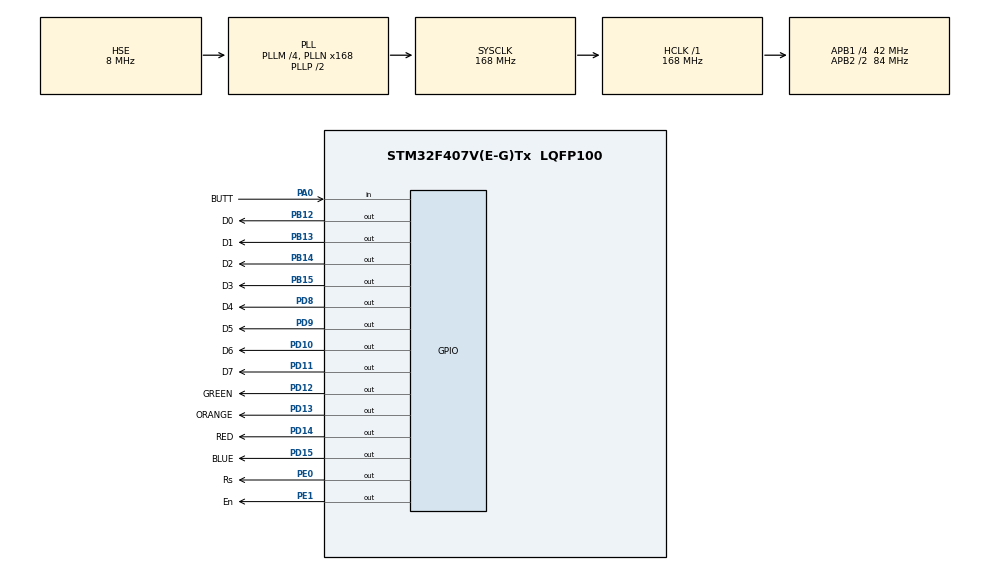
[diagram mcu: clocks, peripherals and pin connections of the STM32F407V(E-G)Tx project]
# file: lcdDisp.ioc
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Mcu.Family=STM32F4
Mcu.Name=STM32F407V(E-G)Tx
Mcu.Package=LQFP100
NVIC.PriorityGroup=NVIC_PRIORITYGROUP_4
PA0-WKUP.GPIO_Label=BUTT
PA0-WKUP.GPIO_PuPd=GPIO_PULLDOWN
PA0-WKUP.Signal=GPIO_Input
PA13.Mode=Serial_Wire
PA13.Signal=SYS_JTMS-SWDIO
PA14.Mode=Serial_Wire
PA14.Signal=SYS_JTCK-SWCLK
PB12.GPIO_Label=D0
PB12.GPIO_Speed=GPIO_SPEED_FREQ_LOW
PB12.Signal=GPIO_Output
PB13.GPIO_Label=D1
PB13.Signal=GPIO_Output
PB14.GPIO_Label=D2
PB14.Signal=GPIO_Output
PB15.GPIO_Label=D3
PB15.Signal=GPIO_Output
PD10.GPIO_Label=D6
PD10.Signal=GPIO_Output
PD11.GPIO_Label=D7
PD11.Signal=GPIO_Output
PD12.GPIO_Label=GREEN
PD12.Signal=GPIO_Output
PD13.GPIO_Label=ORANGE
PD13.Signal=GPIO_Output
PD14.GPIO_Label=RED
PD14.Signal=GPIO_Output
PD15.GPIO_Label=BLUE
PD15.Signal=GPIO_Output
PD8.GPIO_Label=D4
PD8.Signal=GPIO_Output
PD9.GPIO_Label=D5
PD9.Signal=GPIO_Output
PE0.GPIO_Label=Rs
PE0.Signal=GPIO_Output
PE1.GPIO_Label=En
PE1.Signal=GPIO_Output
PH0-OSC_IN.Mode=HSE-External-Oscillator
PH0-OSC_IN.Signal=RCC_OSC_IN
PH1-OSC_OUT.Mode=HSE-External-Oscillator
PH1-OSC_OUT.Signal=RCC_OSC_OUT
ProjectManager.HeapSize=0x200
ProjectManager.StackSize=0x400
ProjectManager.TargetToolchain=MDK-ARM V5.27
RCC.48MHZClocksFreq_Value=84000000
RCC.AHBFreq_Value=168000000
RCC.APB1CLKDivider=RCC_HCLK_DIV4
RCC.APB1Freq_Value=42000000
RCC.APB1TimFreq_Value=84000000
RCC.APB2CLKDivider=RCC_HCLK_DIV2
RCC.APB2Freq_Value=84000000
RCC.APB2TimFreq_Value=168000000
RCC.CortexFreq_Value=168000000
RCC.HCLKFreq_Value=168000000
RCC.HSE_VALUE=8000000
RCC.HSI_VALUE=16000000
RCC.LSE_VALUE=32768
RCC.PLLM=4
RCC.PLLN=168
RCC.PLLSourceVirtual=RCC_PLLSOURCE_HSE
RCC.SYSCLKFreq_VALUE=168000000
RCC.SYSCLKSource=RCC_SYSCLKSOURCE_PLLCLK
RCC.VCOOutputFreq_Value=336000000
board=custom

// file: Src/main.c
/* USER CODE BEGIN Header */
/**
  ******************************************************************************
  * @file           : main.c
  * @brief          : Main program body
  ******************************************************************************
  * @attention
  *
  * <h2><center>&copy; Copyright (c) 2020 STMicroelectronics.
  * All rights reserved.</center></h2>
  *
  * This software component is licensed by ST under BSD 3-Clause license,
  * the "License"; You may not use this file except in compliance with the
  * License. You may obtain a copy of the License at:
  *                        opensource.org/licenses/BSD-3-Clause
  *
  ******************************************************************************
  */
/* USER CODE END Header */

#include "main.h"

/* USER CODE BEGIN Includes */
#include "STM_MY_LCD16X2.h"
/* USER CODE END Includes */

/* USER CODE BEGIN PV */
		char *str1 = " A string to slide waaay out of here... MATE m8!";
		char str2[48] = " Some numbers: 3.14564789 45 96354 pi...12345678";
/* USER CODE END PV */

void SystemClock_Config(void);
static void MX_GPIO_Init(void);

int main(void)
{

  /* MCU Configuration--------------------------------------------------------*/

  /* Reset of all peripherals, Initializes the Flash interface and the Systick. */
  HAL_Init();

  /* Configure the system clock */
  SystemClock_Config();

  /* Initialize all configured peripherals */
  MX_GPIO_Init();
  /* USER CODE BEGIN 2 */
	LCD1602_Begin8BIT(Rs_GPIO_Port, Rs_Pin, En_Pin, D0_GPIO_Port, D0_Pin, D1_Pin, D2_Pin, D3_Pin, D4_GPIO_Port, D4_Pin, D5_Pin, D6_Pin, D7_Pin);

		char a[16];
		int c=0;
		for(int i=0; i<3; i++){
			for(int j=0; j<16; j++){
				a[j]=str1[c];
				c++;
				HAL_Delay(100);

				LCD1602_1stLine();
				LCD1602_print(a);

			}
		}
		LCD1602_2ndLine();
		LCD1602_print(&str2[48]);	//problem var duzelt!
		HAL_Delay(1000);
  /* USER CODE END 2 */

  /* Infinite loop */
  while (1)
  {

    /* USER CODE BEGIN 3 */

		LCD1602_shiftToLeft(1);
		HAL_Delay(500);

  }
  /* USER CODE END 3 */
}

void SystemClock_Config(void)
{
  RCC_OscInitTypeDef RCC_OscInitStruct = {0};
  RCC_ClkInitTypeDef RCC_ClkInitStruct = {0};

  /** Configure the main internal regulator output voltage
  */
  __HAL_RCC_PWR_CLK_ENABLE();
  __HAL_PWR_VOLTAGESCALING_CONFIG(PWR_REGULATOR_VOLTAGE_SCALE1);
  /** Initializes the CPU, AHB and APB busses clocks
  */
  RCC_OscInitStruct.OscillatorType = RCC_OSCILLATORTYPE_HSE;
  RCC_OscInitStruct.HSEState = RCC_HSE_ON;
  RCC_OscInitStruct.PLL.PLLState = RCC_PLL_ON;
  RCC_OscInitStruct.PLL.PLLSource = RCC_PLLSOURCE_HSE;
  RCC_OscInitStruct.PLL.PLLM = 4;
  RCC_OscInitStruct.PLL.PLLN = 168;
  RCC_OscInitStruct.PLL.PLLP = RCC_PLLP_DIV2;
  RCC_OscInitStruct.PLL.PLLQ = 4;
  if (HAL_RCC_OscConfig(&RCC_OscInitStruct) != HAL_OK)
  {
    Error_Handler();
  }
  /** Initializes the CPU, AHB and APB busses clocks
  */
  RCC_ClkInitStruct.ClockType = RCC_CLOCKTYPE_HCLK|RCC_CLOCKTYPE_SYSCLK
                              |RCC_CLOCKTYPE_PCLK1|RCC_CLOCKTYPE_PCLK2;
  RCC_ClkInitStruct.SYSCLKSource = RCC_SYSCLKSOURCE_PLLCLK;
  RCC_ClkInitStruct.AHBCLKDivider = RCC_SYSCLK_DIV1;
  RCC_ClkInitStruct.APB1CLKDivider = RCC_HCLK_DIV4;
  RCC_ClkInitStruct.APB2CLKDivider = RCC_HCLK_DIV2;

  if (HAL_RCC_ClockConfig(&RCC_ClkInitStruct, FLASH_LATENCY_5) != HAL_OK)
  {
    Error_Handler();
  }
}

static void MX_GPIO_Init(void)
{
  GPIO_InitTypeDef GPIO_InitStruct = {0};

  /* GPIO Ports Clock Enable */
  __HAL_RCC_GPIOH_CLK_ENABLE();
  __HAL_RCC_GPIOA_CLK_ENABLE();
  __HAL_RCC_GPIOB_CLK_ENABLE();
  __HAL_RCC_GPIOD_CLK_ENABLE();
  __HAL_RCC_GPIOE_CLK_ENABLE();

  /*Configure GPIO pin Output Level */
  HAL_GPIO_WritePin(GPIOB, D0_Pin|D1_Pin|D2_Pin|D3_Pin, GPIO_PIN_RESET);

  /*Configure GPIO pin Output Level */
  HAL_GPIO_WritePin(GPIOD, D4_Pin|D5_Pin|D6_Pin|D7_Pin
                          |GREEN_Pin|ORANGE_Pin|RED_Pin|BLUE_Pin, GPIO_PIN_RESET);

  /*Configure GPIO pin Output Level */
  HAL_GPIO_WritePin(GPIOE, Rs_Pin|En_Pin, GPIO_PIN_RESET);

  /*Configure GPIO pin : BUTT_Pin */
  GPIO_InitStruct.Pin = BUTT_Pin;
  GPIO_InitStruct.Mode = GPIO_MODE_INPUT;
  GPIO_InitStruct.Pull = GPIO_PULLDOWN;
  HAL_GPIO_Init(BUTT_GPIO_Port, &GPIO_InitStruct);

  /*Configure GPIO pins : D0_Pin D1_Pin D2_Pin D3_Pin */
  GPIO_InitStruct.Pin = D0_Pin|D1_Pin|D2_Pin|D3_Pin;
  GPIO_InitStruct.Mode = GPIO_MODE_OUTPUT_PP;
  GPIO_InitStruct.Pull = GPIO_NOPULL;
  GPIO_InitStruct.Speed = GPIO_SPEED_FREQ_LOW;
  HAL_GPIO_Init(GPIOB, &GPIO_InitStruct);

  /*Configure GPIO pins : D4_Pin D5_Pin D6_Pin D7_Pin
                           GREEN_Pin ORANGE_Pin RED_Pin BLUE_Pin */
  GPIO_InitStruct.Pin = D4_Pin|D5_Pin|D6_Pin|D7_Pin
                          |GREEN_Pin|ORANGE_Pin|RED_Pin|BLUE_Pin;
  GPIO_InitStruct.Mode = GPIO_MODE_OUTPUT_PP;
  GPIO_InitStruct.Pull = GPIO_NOPULL;
  GPIO_InitStruct.Speed = GPIO_SPEED_FREQ_LOW;
  HAL_GPIO_Init(GPIOD, &GPIO_InitStruct);

  /*Configure GPIO pins : Rs_Pin En_Pin */
  GPIO_InitStruct.Pin = Rs_Pin|En_Pin;
  GPIO_InitStruct.Mode = GPIO_MODE_OUTPUT_PP;
  GPIO_InitStruct.Pull = GPIO_NOPULL;
  GPIO_InitStruct.Speed = GPIO_SPEED_FREQ_LOW;
  HAL_GPIO_Init(GPIOE, &GPIO_InitStruct);

}

void Error_Handler(void)
{
}

/************************ (C) COPYRIGHT STMicroelectronics *****END OF FILE****/
